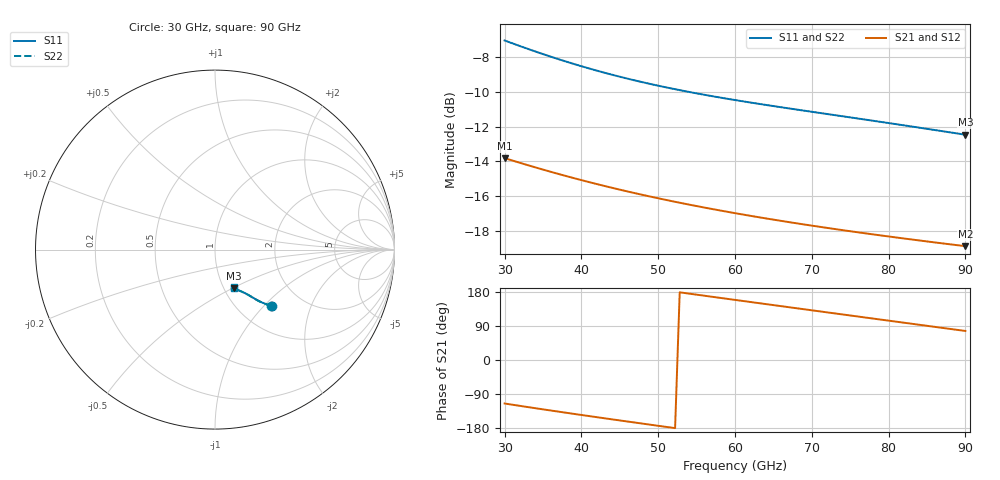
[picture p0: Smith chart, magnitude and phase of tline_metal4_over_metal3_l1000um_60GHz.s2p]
#  GHZ S DB R 50
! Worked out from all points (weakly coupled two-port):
!   101 points, 30 GHz to 90 GHz, reference 50 ohm
!   highest |S21| = -13.81 dB at 30 GHz (marker M1); lowest = -18.9 dB at 90 GHz (marker M2)
!   lowest |S11| = -12.5 dB at 90 GHz (marker M3), VSWR 1.62, Z = 55.8 - j25.2 ohm
!   |S11| at or under -10 dB: 53.89 GHz to end of sweep
!   |S22| runs from -12.6 to -7.1 dB; largest |S21 - S12| = 3.5e-13
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30  -7.05 -44.7  -13.81 -114.8  -13.81 -114.8  -7.06 -44.9
32.4  -7.44 -46.2  -14.14 -122.3  -14.14 -122.3  -7.45 -46.4
34.8  -7.80 -47.5  -14.45 -129.6  -14.45 -129.6  -7.82 -47.7
37.2  -8.15 -48.5  -14.75 -136.8  -14.75 -136.8  -8.18 -48.7
40.2  -8.56 -49.7  -15.10 -145.6  -15.10 -145.6  -8.58 -49.9
42.6  -8.86 -50.5  -15.37 -152.6  -15.37 -152.6  -8.89 -50.7
45  -9.14 -51.2  -15.63 -159.5  -15.63 -159.5  -9.17 -51.4
47.4  -9.39 -51.8  -15.87 -166.3  -15.87 -166.3  -9.43 -52.0
50.4  -9.69 -52.6  -16.16 -174.7  -16.16 -174.7  -9.73 -52.8
52.8  -9.91 -53.2  -16.38 178.6  -16.38 178.6  -9.95 -53.4
55.2  -10.11 -53.7  -16.59 171.9  -16.59 171.9  -10.16 -54.0
60  -10.48 -54.9  -16.98 158.6  -16.98 158.6  -10.53 -55.2
63  -10.69 -55.7  -17.21 150.4  -17.21 150.4  -10.75 -56.0
65.4  -10.85 -56.4  -17.38 143.8  -17.38 143.8  -10.92 -56.6
67.8  -11.01 -57.1  -17.55 137.2  -17.55 137.2  -11.08 -57.3
70.2  -11.16 -57.8  -17.71 130.6  -17.71 130.6  -11.24 -58.0
72.6  -11.32 -58.5  -17.87 124.1  -17.87 124.1  -11.40 -58.7
75  -11.47 -59.2  -18.02 117.5  -18.02 117.5  -11.56 -59.4
77.4  -11.63 -60.0  -18.16 110.9  -18.16 110.9  -11.72 -60.1
80.4  -11.83 -60.9  -18.34 102.8  -18.34 102.8  -11.92 -61.0
85.2  -12.15 -62.3  -18.62 89.7  -18.62 89.7  -12.25 -62.4
90  -12.47 -63.6  -18.88 76.6  -18.88 76.6  -12.58 -63.7
